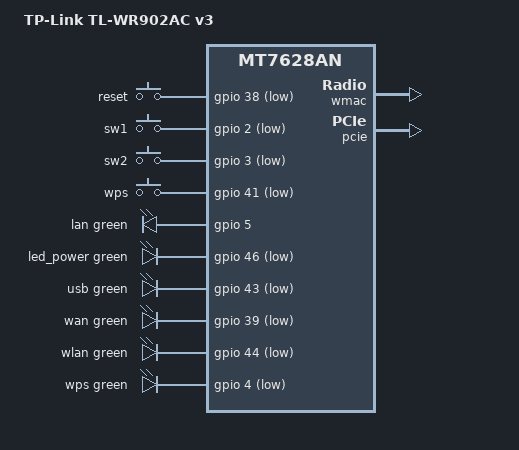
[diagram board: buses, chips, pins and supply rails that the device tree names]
#include <dt-bindings/leds/common.h>

#include "mt7628an_tplink_8m.dtsi"

/ {
	compatible = "tplink,tl-wr902ac-v3", "mediatek,mt7628an-soc";
	model = "TP-Link TL-WR902AC v3";

	aliases {
		led-boot = &led_power;
		led-failsafe = &led_power;
		led-running = &led_power;
		led-upgrade = &led_power;
	};

	keys {
		compatible = "gpio-keys";

		reset {
			label = "reset";
			gpios = <&gpio 38 GPIO_ACTIVE_LOW>;
			linux,code = <KEY_RESTART>;
		};

		sw1 {
			label = "sw1";
			gpios = <&gpio 2 GPIO_ACTIVE_LOW>;
			linux,code = <BTN_0>;
		};

		sw2 {
			label = "sw2";
			gpios = <&gpio 3 GPIO_ACTIVE_LOW>;
			linux,code = <BTN_1>;
		};

		wps {
			label = "wps";
			gpios = <&gpio 41 GPIO_ACTIVE_LOW>;
			linux,code = <KEY_WPS_BUTTON>;
		};
	};

	leds {
		compatible = "gpio-leds";

		lan {
			function = LED_FUNCTION_LAN;
			color = <LED_COLOR_ID_GREEN>;
			gpios = <&gpio 5 GPIO_ACTIVE_HIGH>;
		};

		led_power: power {
			function = LED_FUNCTION_POWER;
			color = <LED_COLOR_ID_GREEN>;
			gpios = <&gpio 46 GPIO_ACTIVE_LOW>;
		};

		usb {
			function = LED_FUNCTION_USB;
			color = <LED_COLOR_ID_GREEN>;
			gpios = <&gpio 43 GPIO_ACTIVE_LOW>;
			trigger-sources = <&ohci_port1>, <&ehci_port1>;
			linux,default-trigger = "usbport";
		};

		wan {
			function = LED_FUNCTION_WAN;
			color = <LED_COLOR_ID_GREEN>;
			gpios = <&gpio 39 GPIO_ACTIVE_LOW>;
		};

		wlan {
			function = LED_FUNCTION_WLAN;
			color = <LED_COLOR_ID_GREEN>;
			gpios = <&gpio 44 GPIO_ACTIVE_LOW>;
		};

		wps {
			function = LED_FUNCTION_WPS;
			color = <LED_COLOR_ID_GREEN>;
			gpios = <&gpio 4 GPIO_ACTIVE_LOW>;
		};
	};
};

&state_default {
	gpio {
		groups = "i2c", "i2s", "p0led_an", "p2led_an", "p4led_an", "uart1", "wdt", "wled_an";
		function = "gpio";
	};
};

&wmac {
	status = "okay";

	nvmem-cells = <&eeprom_factory_20000>, <&macaddr_factory_f100 0>;
	nvmem-cell-names = "eeprom", "mac-address";
};

&ethernet {
	nvmem-cells = <&macaddr_factory_f100 0>;
	nvmem-cell-names = "mac-address";
};

&pcie {
	status = "okay";
};

&pcie0 {
	mt76@0,0 {
		reg = <0x0000 0 0 0 0>;
		ieee80211-freq-limit = <5000000 6000000>;
		nvmem-cells = <&eeprom_factory_28000>, <&macaddr_factory_f100 (-1)>;
		nvmem-cell-names = "eeprom", "mac-address";
	};
};
